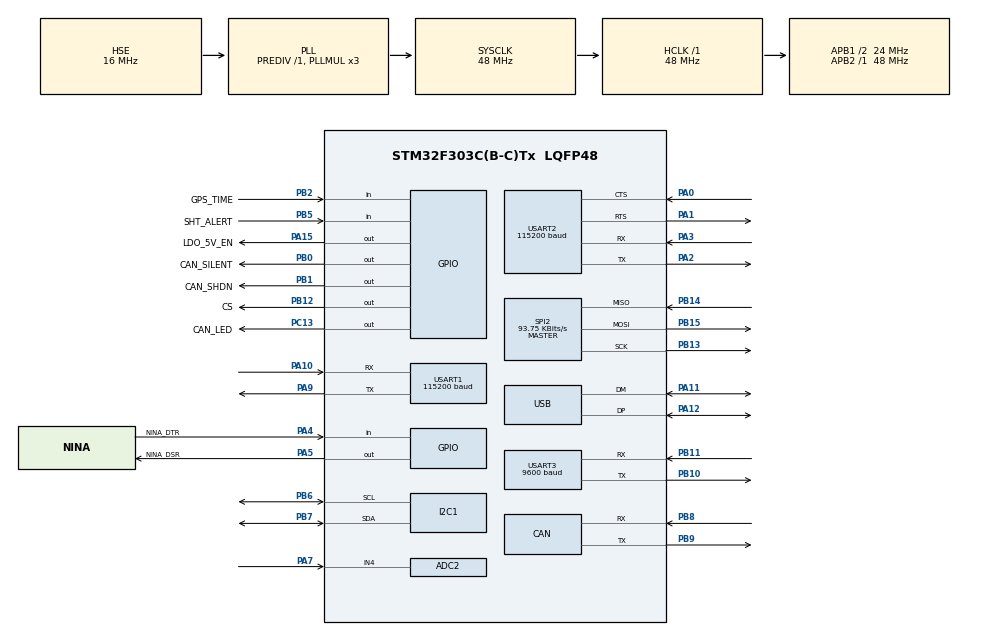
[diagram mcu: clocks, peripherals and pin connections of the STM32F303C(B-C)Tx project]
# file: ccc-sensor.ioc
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ADC2.Channel-0\#ChannelRegularConversion=ADC_CHANNEL_4
ADC2.NbrOfConversionFlag=1
ADC2.Offset-0\#ChannelRegularConversion=0
ADC2.OffsetNumber-0\#ChannelRegularConversion=ADC_OFFSET_NONE
ADC2.Rank-0\#ChannelRegularConversion=1
ADC2.SamplingTime-0\#ChannelRegularConversion=ADC_SAMPLETIME_1CYCLE_5
CAN.BS1=CAN_BS1_1TQ
CAN.BS2=CAN_BS2_1TQ
CAN.CalculateTimeQuantum=666.6666666666666
FREERTOS.INCLUDE_uxTaskGetStackHighWaterMark=1
FREERTOS.Tasks01=defaultTask,0,1024,StartDefaultTask,Default,NULL,Dynamic,NULL,NULL
FREERTOS.configCHECK_FOR_STACK_OVERFLOW=1
FREERTOS.configTOTAL_HEAP_SIZE=20000
FREERTOS.configUSE_TICKLESS_IDLE=1
Mcu.Family=STM32F3
Mcu.Name=STM32F303C(B-C)Tx
Mcu.Package=LQFP48
NVIC.PriorityGroup=NVIC_PRIORITYGROUP_4
NVIC.TIM1_UP_TIM16_IRQn=true\:0\:0\:false\:false\:true\:false\:false\:true
NVIC.TimeBase=TIM1_UP_TIM16_IRQn
NVIC.TimeBaseIP=TIM1
NVIC.USART2_IRQn=true\:5\:0\:false\:false\:true\:true\:true\:true
NVIC.USART3_IRQn=true\:5\:0\:false\:false\:true\:true\:true\:true
NVIC.USB_LP_IRQn=true\:5\:0\:false\:false\:true\:true\:false\:true
PA0.Mode=CTS_RTS
PA0.Signal=USART2_CTS
PA1.Mode=CTS_RTS
PA1.Signal=USART2_RTS
PA10.Mode=Asynchronous
PA10.Signal=USART1_RX
PA11.Mode=Device
PA11.Signal=USB_DM
PA12.Mode=Device
PA12.Signal=USB_DP
PA13.Mode=Serial_Wire
PA13.Signal=SYS_JTMS-SWDIO
PA14.Mode=Serial_Wire
PA14.Signal=SYS_JTCK-SWCLK
PA15.GPIO_Label=LDO_5V_EN
PA15.PinState=GPIO_PIN_SET
PA15.Signal=GPIO_Output
PA2.Mode=Asynchronous
PA2.Signal=USART2_TX
PA3.Mode=Asynchronous
PA3.Signal=USART2_RX
PA4.GPIO_Label=NINA_DTR
PA4.Signal=GPIO_Input
PA5.GPIO_Label=NINA_DSR
PA5.Signal=GPIO_Output
PA7.Mode=IN4-Single-Ended
PA7.Signal=ADC2_IN4
PA9.Mode=Asynchronous
PA9.Signal=USART1_TX
PB0.GPIO_Label=CAN_SILENT
PB0.Signal=GPIO_Output
PB1.GPIO_Label=CAN_SHDN
PB1.Signal=GPIO_Output
PB10.Mode=Asynchronous
PB10.Signal=USART3_TX
PB11.Mode=Asynchronous
PB11.Signal=USART3_RX
PB12.GPIO_Label=CS
PB12.Signal=GPIO_Output
PB13.Mode=Full_Duplex_Master
PB13.Signal=SPI2_SCK
PB14.Mode=Full_Duplex_Master
PB14.Signal=SPI2_MISO
PB15.Mode=Full_Duplex_Master
PB15.Signal=SPI2_MOSI
PB2.GPIO_Label=GPS_TIME
PB2.Signal=GPIO_Input
PB3.Signal=SYS_JTDO-TRACESWO
PB5.GPIO_Label=SHT_ALERT
PB5.Signal=GPIO_Input
PB6.Mode=I2C
PB6.Signal=I2C1_SCL
PB7.Mode=I2C
PB7.Signal=I2C1_SDA
PB8.Mode=Master
PB8.Signal=CAN_RX
PB9.Mode=Master
PB9.Signal=CAN_TX
PC13.GPIO_Label=CAN_LED
PC13.Signal=GPIO_Output
PC14-OSC32_IN.Mode=LSE-External-Oscillator
PC14-OSC32_IN.Signal=RCC_OSC32_IN
PC15-OSC32_OUT.Mode=LSE-External-Oscillator
PC15-OSC32_OUT.Signal=RCC_OSC32_OUT
PF0-OSC_IN.Mode=HSE-External-Oscillator
PF0-OSC_IN.Signal=RCC_OSC_IN
PF1-OSC_OUT.Mode=HSE-External-Oscillator
PF1-OSC_OUT.Signal=RCC_OSC_OUT
ProjectManager.HeapSize=0x200
ProjectManager.StackSize=0x400
ProjectManager.TargetToolchain=Makefile
RCC.AHBFreq_Value=48000000
RCC.APB1CLKDivider=RCC_HCLK_DIV2
RCC.APB1Freq_Value=24000000
RCC.APB1TimFreq_Value=48000000
RCC.APB2Freq_Value=48000000
RCC.APB2TimFreq_Value=48000000
RCC.CortexFreq_Value=48000000
RCC.HCLKFreq_Value=48000000
RCC.HSE_VALUE=16000000
RCC.HSI_VALUE=8000000
RCC.PLLMUL=RCC_PLL_MUL3
RCC.RTCClockSelection=RCC_RTCCLKSOURCE_LSE
RCC.SYSCLKFreq_VALUE=48000000
RCC.SYSCLKSourceVirtual=RCC_SYSCLKSOURCE_PLLCLK
RCC.USBFreq_Value=48000000
SPI2.BaudRatePrescaler=SPI_BAUDRATEPRESCALER_256
SPI2.CLKPhase=SPI_PHASE_2EDGE
SPI2.CalculateBaudRate=93.75 KBits/s
SPI2.DataSize=SPI_DATASIZE_8BIT
SPI2.Direction=SPI_DIRECTION_2LINES
SPI2.Mode=SPI_MODE_MASTER
SPI2.VirtualType=VM_MASTER
TIM6.Period=0xFFFF
TIM6.Prescaler=72-1
USART1.BaudRate=115200
USART1.VirtualMode-Asynchronous=VM_ASYNC
USART2.BaudRate=115200
USART2.VirtualMode-Asynchronous=VM_ASYNC
USART3.BaudRate=9600
USART3.VirtualMode-Asynchronous=VM_ASYNC
USB_DEVICE.CLASS_NAME_FS=MSC
USB_DEVICE.VirtualMode=Msc
USB_DEVICE.VirtualModeFS=Msc_FS
VP_ADC2_Vref_Input.Mode=IN-Vrefint
VP_FREERTOS_VS_CMSIS_V1.Mode=CMSIS_V1
VP_RTC_VS_RTC_Activate.Mode=RTC_Enabled
VP_SYS_VS_tim1.Mode=TIM1
VP_TIM6_VS_ClockSourceINT.Mode=Enable_Timer
VP_USB_DEVICE_VS_USB_DEVICE_MSC_FS.Mode=MSC_FS
board=custom

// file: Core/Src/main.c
/* USER CODE BEGIN Header */
/**
  ******************************************************************************
  * @file           : main.c
  * @brief          : Main program body
  ******************************************************************************
  * @attention
  *
  * <h2><center>&copy; Copyright (c) 2019 STMicroelectronics.
  * All rights reserved.</center></h2>
  *
  * This software component is licensed by ST under Ultimate Liberty license
  * SLA0044, the "License"; You may not use this file except in compliance with
  * the License. You may obtain a copy of the License at:
  *                             www.st.com/SLA0044
  *
  ******************************************************************************
  */
/* USER CODE END Header */

#include "main.h"
#include "cmsis_os.h"
#include "adc.h"
#include "can.h"
#include "i2c.h"
#include "rtc.h"
#include "spi.h"
#include "tim.h"
#include "usart.h"
#include "usb_device.h"
#include "gpio.h"

void SystemClock_Config(void);
void MX_FREERTOS_Init(void);

int main(void)
{

  /* MCU Configuration--------------------------------------------------------*/

  /* Reset of all peripherals, Initializes the Flash interface and the Systick. */
  HAL_Init();

  /* Configure the system clock */
  SystemClock_Config();

  /* Initialize all configured peripherals */
  MX_GPIO_Init();
  MX_CAN_Init();
  MX_SPI2_Init();
  MX_USART2_UART_Init();
  MX_ADC2_Init();
  MX_I2C1_Init();
  MX_RTC_Init();
  MX_TIM6_Init();
  MX_USART1_UART_Init();
  MX_USART3_UART_Init();

  /* Call init function for freertos objects (in freertos.c) */
  MX_FREERTOS_Init();

  /* Start scheduler */
  osKernelStart();

  /* We should never get here as control is now taken by the scheduler */

  /* Infinite loop */
  while (1)
  {

  }
}

void SystemClock_Config(void)
{
  RCC_OscInitTypeDef RCC_OscInitStruct = {0};
  RCC_ClkInitTypeDef RCC_ClkInitStruct = {0};
  RCC_PeriphCLKInitTypeDef PeriphClkInit = {0};

  /** Configure LSE Drive Capability
  */
  HAL_PWR_EnableBkUpAccess();
  __HAL_RCC_LSEDRIVE_CONFIG(RCC_LSEDRIVE_LOW);
  /** Initializes the CPU, AHB and APB busses clocks
  */
  RCC_OscInitStruct.OscillatorType = RCC_OSCILLATORTYPE_HSI|RCC_OSCILLATORTYPE_HSE
                              |RCC_OSCILLATORTYPE_LSE;
  RCC_OscInitStruct.HSEState = RCC_HSE_ON;
  RCC_OscInitStruct.HSEPredivValue = RCC_HSE_PREDIV_DIV1;
  RCC_OscInitStruct.LSEState = RCC_LSE_ON;
  RCC_OscInitStruct.HSIState = RCC_HSI_ON;
  RCC_OscInitStruct.HSICalibrationValue = RCC_HSICALIBRATION_DEFAULT;
  RCC_OscInitStruct.PLL.PLLState = RCC_PLL_ON;
  RCC_OscInitStruct.PLL.PLLSource = RCC_PLLSOURCE_HSE;
  RCC_OscInitStruct.PLL.PLLMUL = RCC_PLL_MUL3;
  if (HAL_RCC_OscConfig(&RCC_OscInitStruct) != HAL_OK)
  {
    Error_Handler();
  }
  /** Initializes the CPU, AHB and APB busses clocks
  */
  RCC_ClkInitStruct.ClockType = RCC_CLOCKTYPE_HCLK|RCC_CLOCKTYPE_SYSCLK
                              |RCC_CLOCKTYPE_PCLK1|RCC_CLOCKTYPE_PCLK2;
  RCC_ClkInitStruct.SYSCLKSource = RCC_SYSCLKSOURCE_PLLCLK;
  RCC_ClkInitStruct.AHBCLKDivider = RCC_SYSCLK_DIV1;
  RCC_ClkInitStruct.APB1CLKDivider = RCC_HCLK_DIV2;
  RCC_ClkInitStruct.APB2CLKDivider = RCC_HCLK_DIV1;

  if (HAL_RCC_ClockConfig(&RCC_ClkInitStruct, FLASH_LATENCY_1) != HAL_OK)
  {
    Error_Handler();
  }
  PeriphClkInit.PeriphClockSelection = RCC_PERIPHCLK_USB|RCC_PERIPHCLK_USART1
                              |RCC_PERIPHCLK_USART2|RCC_PERIPHCLK_USART3
                              |RCC_PERIPHCLK_I2C1|RCC_PERIPHCLK_RTC
                              |RCC_PERIPHCLK_ADC12;
  PeriphClkInit.Usart1ClockSelection = RCC_USART1CLKSOURCE_PCLK2;
  PeriphClkInit.Usart2ClockSelection = RCC_USART2CLKSOURCE_PCLK1;
  PeriphClkInit.Usart3ClockSelection = RCC_USART3CLKSOURCE_PCLK1;
  PeriphClkInit.Adc12ClockSelection = RCC_ADC12PLLCLK_DIV1;
  PeriphClkInit.I2c1ClockSelection = RCC_I2C1CLKSOURCE_HSI;
  PeriphClkInit.RTCClockSelection = RCC_RTCCLKSOURCE_LSE;
  PeriphClkInit.USBClockSelection = RCC_USBCLKSOURCE_PLL;
  if (HAL_RCCEx_PeriphCLKConfig(&PeriphClkInit) != HAL_OK)
  {
    Error_Handler();
  }
}

void HAL_TIM_PeriodElapsedCallback(TIM_HandleTypeDef *htim)
{
  if (htim->Instance == TIM1) {
    HAL_IncTick();
  }
}

void Error_Handler(void)
{
}

/************************ (C) COPYRIGHT STMicroelectronics *****END OF FILE****/

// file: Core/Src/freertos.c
/* USER CODE BEGIN Header */
/**
  ******************************************************************************
  * File Name          : freertos.c
  * Description        : Code for freertos applications
  ******************************************************************************
  * @attention
  *
  * <h2><center>&copy; Copyright (c) 2019 STMicroelectronics.
  * All rights reserved.</center></h2>
  *
  * This software component is licensed by ST under Ultimate Liberty license
  * SLA0044, the "License"; You may not use this file except in compliance with
  * the License. You may obtain a copy of the License at:
  *                             www.st.com/SLA0044
  *
  ******************************************************************************
  */

/* USER CODE END Header */

#include "FreeRTOS.h"
#include "task.h"
#include "main.h"
#include "cmsis_os.h"

/* USER CODE BEGIN Includes */
#include "measurement.h"
#include "gps.h"
#include "comm.h"

#include "flashLogger.h"
/* USER CODE END Includes */

/* USER CODE BEGIN Variables */
osThreadId measurementTaskHandle;
osThreadId gpsTaskHandle;
osThreadId commTaskHandle;

/* USER CODE END Variables */
osThreadId defaultTaskHandle;

void StartDefaultTask(void const * argument);

extern void MX_USB_DEVICE_Init(void);
void MX_FREERTOS_Init(void); /* (MISRA C 2004 rule 8.1) */

/* Pre/Post sleep processing prototypes */
void PreSleepProcessing(uint32_t *ulExpectedIdleTime);
void PostSleepProcessing(uint32_t *ulExpectedIdleTime);

/* Hook prototypes */
void vApplicationStackOverflowHook(xTaskHandle xTask, signed char *pcTaskName);

/* USER CODE BEGIN 4 */
__weak void vApplicationStackOverflowHook(xTaskHandle xTask, signed char *pcTaskName)
{
   /* Run time stack overflow checking is performed if
   configCHECK_FOR_STACK_OVERFLOW is defined to 1 or 2. This hook function is
   called if a stack overflow is detected. */
}
/* USER CODE END 4 */

/* USER CODE BEGIN PREPOSTSLEEP */
__weak void PreSleepProcessing(uint32_t *ulExpectedIdleTime)
{
/* place for user code */
}

__weak void PostSleepProcessing(uint32_t *ulExpectedIdleTime)
{
/* place for user code */
}
/* USER CODE END PREPOSTSLEEP */

void MX_FREERTOS_Init(void) {
  /* USER CODE BEGIN Init */

  /* init code for USB_DEVICE */
  MX_USB_DEVICE_Init();

  /* USER CODE END Init */

  /* Create the thread(s) */
  /* definition and creation of defaultTask */
  //osThreadDef(defaultTask, StartDefaultTask, osPriorityNormal, 0, 256);
  //defaultTaskHandle = osThreadCreate(osThread(defaultTask), NULL);

  /* USER CODE BEGIN RTOS_THREADS */
  osThreadDef(gpsTask, gps_task, osPriorityHigh, 0, 700);
  gpsTaskHandle = osThreadCreate(osThread(gpsTask), NULL);

  osThreadDef(measurementTask, measurement_task, osPriorityRealtime, 0, 1600);
  measurementTaskHandle = osThreadCreate(osThread(measurementTask), NULL);

  osThreadDef(commTask, StartCommTask, osPriorityAboveNormal, 0, 512);
  commTaskHandle = osThreadCreate(osThread(commTask), NULL);
  /* USER CODE END RTOS_THREADS */

}

void StartDefaultTask(void const * argument)
{

  /* init code for USB_DEVICE */
  /* USER CODE BEGIN StartDefaultTask */

/*
//Code used to test flashLogger. Remains as example
  uint32_t start_addr, end_addr, read_addr;
  int16_t step;
  uint8_t data[32];
  uint8_t type;
  size_t length;
  int i;

  for(i = 0; i < 16; i++)
  {
    data[i] = 'A' + i;
  }

  end_addr = FL_init();
  start_addr = FL_searchStart();

  end_addr += FL_writeMessage(end_addr, data, 15, 0x22);

  read_addr = start_addr;
  step = 1;
  while(step > 0)
  {
    step = FL_readMessage(read_addr, &data[16], &type, &length);
    read_addr += step;
  }

//  end_addr = FL_erase(start_addr, end_addr);
  start_addr = FL_searchStart();
*/
  /* Infinite loop */

  int vbat = 0;
  for(;;)
  {
    osDelay(5000);
  }
  /* USER CODE END StartDefaultTask */
}

/************************ (C) COPYRIGHT STMicroelectronics *****END OF FILE****/
